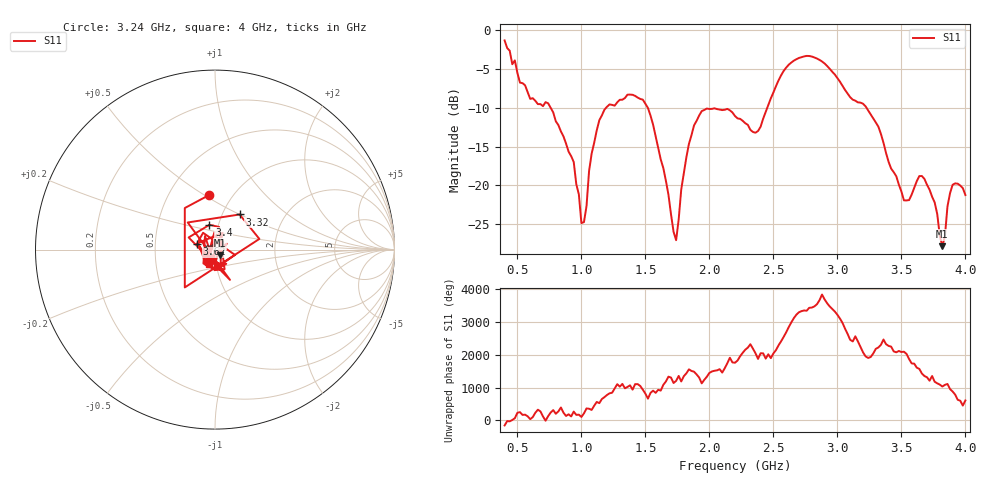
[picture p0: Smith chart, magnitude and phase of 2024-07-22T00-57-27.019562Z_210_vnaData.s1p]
!Created with skrf (http://scikit-rf.org).
# Hz S RI R 50.0
!freq ReS11 ImS11
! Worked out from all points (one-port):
!   181 points, 400 MHz to 4 GHz, reference 50 ohm
!   lowest |S11| = -27.8 dB at 3.82 GHz (marker M1), VSWR 1.08, Z = 52.5 - j3.3 ohm
!   |S11| at or under -10 dB: 759.5 MHz to 1.193 GHz (433.8 MHz wide, 44.4 % of centre); 1.519 GHz to 2.452 GHz (933.2 MHz wide, 47 % of centre); 3.227 GHz to end of sweep
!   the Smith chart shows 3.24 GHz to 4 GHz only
!   S11 on the Smith chart (normalised r, x): 3.24 GHz: 0.78, +0.52; 3.32 GHz: 1.20, +0.50; 3.4 GHz: 0.91, +0.26; 3.62 GHz: 0.81, +0.05; 4 GHz: 0.92, -0.15
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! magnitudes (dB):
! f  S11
! 400 MHz  -1.3
! 520 MHz  -6.8
! 860 MHz  -13.7
! 940 MHz  -17.0
! 1 GHz  -24.9
! 1.02 GHz  -24.7
! 1.08 GHz  -15.9
! 1.14 GHz  -11.6
! 1.3 GHz  -9.0
! 1.52 GHz  -10.0
! 1.72 GHz  -26.0
! 1.76 GHz  -24.4
! 1.84 GHz  -14.7
! 1.92 GHz  -11.0
! 2.2 GHz  -11.1
! 2.38 GHz  -13.0
! 2.66 GHz  -3.9
! 2.88 GHz  -4.0
! 3.1 GHz  -8.6
! 3.24 GHz  -10.3
! 3.32 GHz  -12.4
! 3.4 GHz  -17.0
! 3.56 GHz  -21.9
! 3.62 GHz  -19.5
! 3.76 GHz  -22.2
! 3.82 GHz  -27.8
! 3.9 GHz  -19.9
! 4 GHz  -21.2
